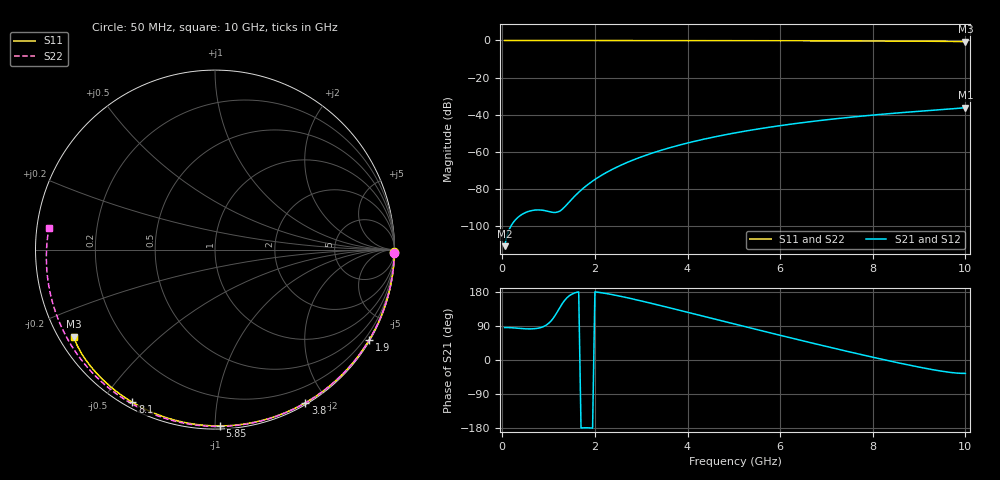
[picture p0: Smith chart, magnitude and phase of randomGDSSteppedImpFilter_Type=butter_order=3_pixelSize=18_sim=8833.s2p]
! freq	dB(S11)	phase(S11)	dB(S12)	phase(S12)
!  dB(S21)	phase(S21)	dB(S22)	phase(S22)
!S-par simulation data
#  GHz  S  DB  R 50
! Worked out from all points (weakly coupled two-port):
!   200 points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, 50 MHz to 10 GHz, reference 50 ohm
!   highest |S21| = -36.24 dB at 10 GHz (marker M1); lowest = -111.0 dB at 50 MHz (marker M2)
!   lowest |S11| = -0.7 dB at 10 GHz (marker M3), VSWR 25.78, Z = 2.09 - j14.1 ohm
!   |S11| at or under -10 dB: nowhere
!   |S22| runs from -0.6 to 0.0 dB; largest |S21 - S12| = 0
!   S11 on the Smith chart (normalised r, x): 50 MHz: open; 1.9 GHz: 0.03, -3.67; 3.8 GHz: 0.02, -1.75; 5.85 GHz: 0.02, -1.03; 8.1 GHz: 0.02, -0.60; 10 GHz: 0.04, -0.28
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0.05  -0.01 -0.8  -111.01 85.5  -111.01 85.5  -0.00 -1.0
0.45  -0.01 -7.3  -93.50 82.6  -93.50 82.6  -0.01 -9.6
0.85  -0.02 -13.8  -91.56 86.4  -91.56 86.4  -0.02 -18.0
1.7  -0.03 -27.3  -80.79 -179.4  -80.79 -179.4  -0.05 -35.7
1.75  -0.04 -28.1  -79.71 -179.0  -79.71 -179.0  -0.05 -36.7
1.9  -0.04 -30.5  -76.77 -179.2  -76.77 -179.2  -0.05 -39.8
2.2  -0.04 -35.2  -71.93 176.4  -71.93 176.4  -0.06 -45.9
2.55  -0.05 -40.6  -67.45 168.2  -67.45 168.2  -0.07 -52.8
2.95  -0.06 -46.7  -63.31 157.3  -63.31 157.3  -0.08 -60.7
3.4  -0.07 -53.5  -59.49 144.1  -59.49 144.1  -0.09 -69.4
3.8  -0.08 -59.5  -56.63 132.1  -56.63 132.1  -0.10 -77.0
4.4  -0.10 -68.2  -53.02 113.7  -53.02 113.7  -0.13 -88.1
5.05  -0.12 -77.4  -49.78 93.9  -49.78 93.9  -0.15 -99.8
5.85  -0.15 -88.5  -46.51 69.7  -46.51 69.7  -0.19 -113.8
6.7  -0.19 -99.9  -43.68 44.4  -43.68 44.4  -0.25 -128.5
7.4  -0.24 -109.2  -41.72 24.2  -41.72 24.2  -0.31 -140.5
8.1  -0.29 -118.4  -40.05 4.6  -40.05 4.6  -0.37 -152.6
8.35  -0.31 -121.8  -39.51 -2.1  -39.51 -2.1  -0.40 -156.9
8.9  -0.37 -129.3  -38.41 -16.3  -38.41 -16.3  -0.46 -166.7
9.4  -0.44 -136.7  -37.49 -27.8  -37.49 -27.8  -0.52 -175.8
9.75  -0.53 -142.8  -36.83 -33.8  -36.83 -33.8  -0.57 177.6
10  -0.67 -148.4  -36.24 -35.4  -36.24 -35.4  -0.60 172.7
